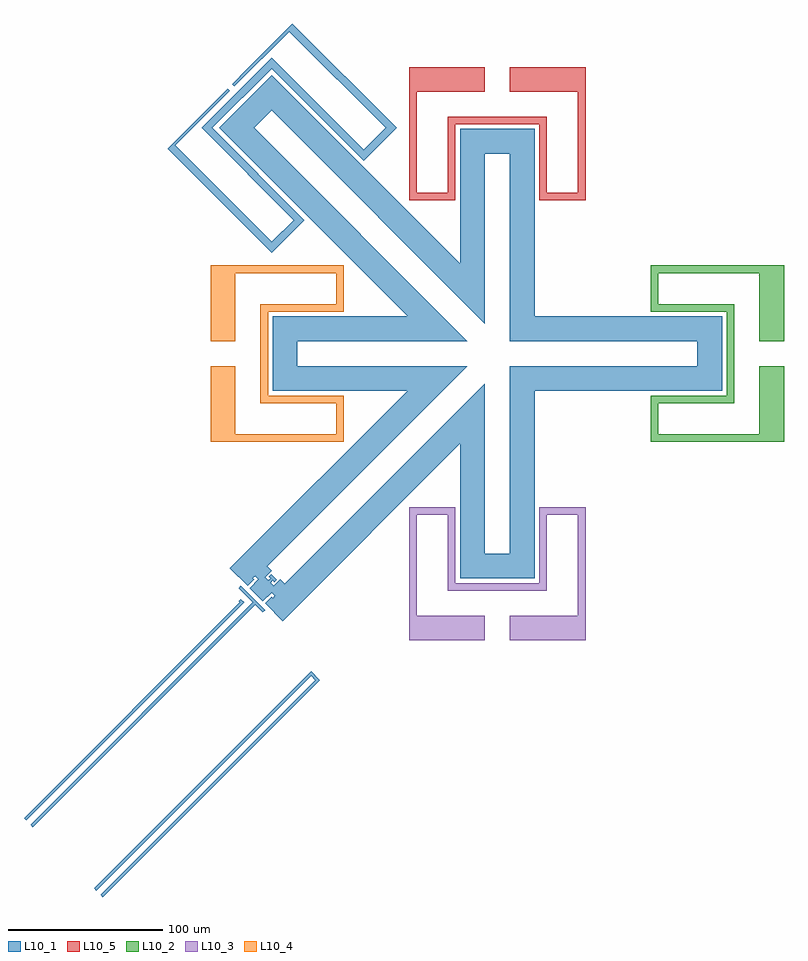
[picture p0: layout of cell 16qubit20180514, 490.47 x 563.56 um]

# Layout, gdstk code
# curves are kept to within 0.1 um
import gdstk
lib = gdstk.Library(unit=1e-6, precision=1e-09)
def P(c, l, *ps):  # polygons
    for p in ps: c.add(gdstk.Polygon(p, *l))
L10_1 = (10, 1)
L10_2 = (10, 2)
L10_3 = (10, 3)
L10_4 = (10, 4)
L10_5 = (10, 5)

c_16qubit20180514 = lib.new_cell('16qubit20180514')
P(c_16qubit20180514, L10_1, [(-145.66,65.049),(-212.835,132.224),(-173.944,171.116),(-172.53,169.701),(-207.886,134.345),(-145.66,72.12),(-131.518,86.262),(-190.915,145.659),(-145.66,190.914),(-86.263,131.517),(-72.121,145.659),(-134.347,207.884),(-169.702,172.529),(-171.117,173.943),(-132.225,212.834),(-65.05,145.659),(-86.263,124.446),(-145.66,183.843),(-183.844,145.659),(-124.447,86.262)],
  [(-138.589,-172.532),(-149.904,-161.218),(-145.662,-156.976),(-144.955,-157.683),(-143.539,-156.267),(-145.661,-154.147),(-151.317,-159.804),(-159.803,-151.318),(-154.146,-145.66),(-156.266,-143.541),(-157.681,-144.956),(-156.974,-145.663),(-161.216,-149.905),(-172.531,-138.59),(-57.941,-24.001),(-145,-24.001),(-145,23.999),(-57.941,23.999),(-179.601,145.659),(-156.973,168.287),(-156.973,145.66),(-19.312,8),(-129,7.999),(-129,-8.002),(-19.314,-8.002),(-148.488,-137.176),(-145.661,-140.005),(-149.904,-144.248),(-147.783,-146.369),(-146.37,-144.954),(-147.428,-143.894),(-146.015,-142.481),(-142.479,-146.016),(-143.894,-147.43),(-144.953,-146.37),(-146.368,-147.785),(-144.247,-149.905),(-140.004,-145.66),(-137.175,-148.489),(-8,-19.315),(-8,-129.002),(8,-129.002),(8,-8.002),(129,-8),(129,7.999),(8,8),(8,128.999),(-8,128.999),(-8,19.313),(-145.661,156.972),(-156.973,145.66),(-156.973,168.287),(-145.66,179.6),(-24,57.94),(-24,144.999),(24,144.999),(24,23.999),(145,23.999),(145,-24.001),(24,-24.001),(24,-145.001),(-24,-145.001),(-24,-57.942)],
  [(-254.554,-350.721),(-255.968,-349.307),(-117.375,-210.714),(-120.204,-207.886),(-258.796,-346.479),(-258.797,-346.479),(-260.21,-345.066),(-260.211,-345.063),(-120.205,-205.057),(-114.548,-210.715)],
  [(-299.81,-305.465),(-301.224,-304.051),(-157.682,-160.509),(-166.875,-151.316),(-165.461,-149.902),(-149.904,-165.459),(-151.318,-166.873),(-156.268,-161.923)],
  [(-304.052,-301.223),(-305.466,-299.809),(-166.167,-160.51),(-166.874,-159.803),(-165.459,-158.388),(-163.338,-160.509)])
P(c_16qubit20180514, L10_2, [(99,-57),(99,-27),(148,-27),(148,27),(99,27),(99,57),(185,57),(185,8),(169,8),(169,52),(104,52),(104,32),(153,32),(153,-32),(104,-32),(104,-52),(169,-52),(169,-8),(185,-8),(185,-57)])
P(c_16qubit20180514, L10_3, [(-57,-185),(-57,-99),(-27,-99),(-27,-148),(27,-148),(27,-99),(57,-99),(57,-185),(8,-185),(8,-169),(52,-169),(52,-104),(32,-104),(32,-153),(-32,-153),(-32,-104),(-52,-104),(-52,-169),(-8,-169),(-8,-185)])
P(c_16qubit20180514, L10_4, [(-185,-57),(-185,-8),(-169,-8),(-169,-52),(-104,-52),(-104,-32),(-153,-32),(-153,32),(-104,32),(-104,52),(-169,52),(-169,8),(-185,8),(-185,57),(-99,57),(-99,27),(-148,27),(-148,-27),(-99,-27),(-99,-57)])
P(c_16qubit20180514, L10_5, [(-57.001,99),(-57.001,185),(-8.001,185),(-8.001,169),(-52.001,169),(-52.001,104),(-32.001,104),(-32.001,153),(31.999,153),(31.999,104),(51.999,104),(51.999,169),(7.999,169),(7.999,185),(56.999,185),(56.999,99),(26.999,99),(26.999,148),(-27.001,148),(-27.001,99)])

lib.write_gds('16qubit20180514.gds')
